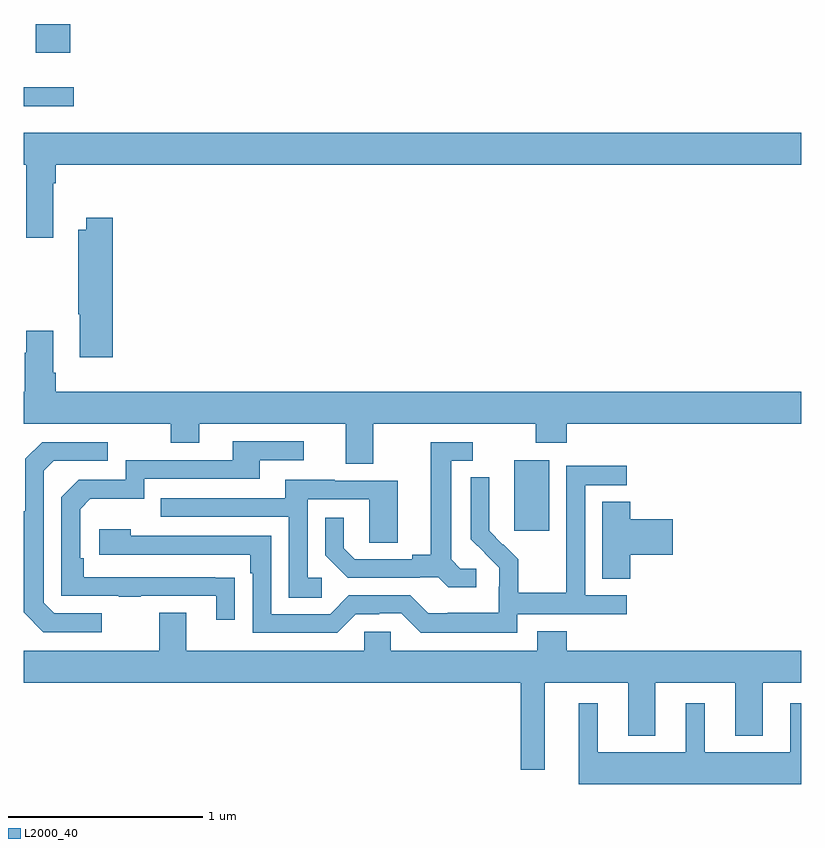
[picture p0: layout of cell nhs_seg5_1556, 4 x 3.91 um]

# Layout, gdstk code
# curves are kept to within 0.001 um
import gdstk
lib = gdstk.Library(unit=1e-6, precision=1e-09)
def R(c, l, rs):  # rectangles x0, y0, x1, y1
    for r in rs: c.add(gdstk.rectangle(r[:2], r[2:], *l))
def P(c, l, *ps):  # polygons
    for p in ps: c.add(gdstk.Polygon(p, *l))
L2000_40 = (2000, 40)

nhs_seg5_1556 = lib.new_cell('nhs_seg5_1556')
R(nhs_seg5_1556, L2000_40, [(207.524,872.193,207.703,872.554), (205,874.376,205.258,874.473), (205.061,874.652,205.24,874.799)])
P(nhs_seg5_1556, L2000_40, [(205.153,873.98),(205.166,873.98),(205.166,874.076),(209,874.076),(209,874.24),(205,874.24),(205,874.076),(205.013,874.076),(205.013,873.699),(205.153,873.699)],
  [(205.457,873.802),(205.322,873.802),(205.322,873.742),(205.282,873.742),(205.282,873.307),(205.289,873.307),(205.289,873.084),(205.457,873.084)],
  [(206.797,872.744),(207.634,872.744),(207.634,872.645),(207.794,872.645),(207.794,872.744),(209,872.744),(209,872.908),(205.166,872.908),(205.166,873.004),(205.153,873.004),(205.153,873.22),(205.013,873.22),(205.013,873.107),(205.006,873.107),(205.006,872.908),(205,872.908),(205,872.744),(205.756,872.744),(205.756,872.645),(205.903,872.645),(205.903,872.744),(206.657,872.744),(206.657,872.536),(206.797,872.536)],
  [(206.087,871.952),(205.31,871.953),(205.31,872.05),(205.29,872.05),(205.29,872.304),(205.343,872.357),(205.62,872.357),(205.62,872.46),(206.215,872.46),(206.215,872.556),(206.44,872.556),(206.44,872.652),(206.075,872.652),(206.075,872.556),(205.524,872.556),(205.524,872.454),(205.284,872.454),(205.194,872.364),(205.194,871.857),(205.489,871.857),(205.489,871.852),(205.601,871.852),(205.601,871.857),(205.991,871.857),(205.991,871.734),(206.087,871.734)],
  [(207.328,871.998),(207.246,871.998),(207.199,872.045),(207.199,872.553),(207.31,872.553),(207.31,872.649),(207.095,872.649),(207.095,872.069),(206.999,872.069),(206.999,872.046),(206.704,872.046),(206.647,872.103),(206.647,872.26),(206.55,872.26),(206.55,872.066),(206.666,871.95),(207.038,871.95),(207.038,871.953),(207.132,871.953),(207.184,871.901),(207.328,871.901)],
  [(205.402,871.767),(205.158,871.767),(205.104,871.821),(205.104,872.502),(205.155,872.553),(205.432,872.553),(205.432,872.649),(205.095,872.649),(205.008,872.562),(205.008,872.293),(205,872.293),(205,871.773),(205.101,871.671),(205.402,871.671)],
  [(207.54,871.764),(208.102,871.764),(208.102,871.86),(207.888,871.86),(207.888,872.427),(208.102,872.427),(208.102,872.526),(207.792,872.526),(207.792,872.096),(207.79,872.096),(207.79,871.873),(207.545,871.873),(207.545,872.047),(207.468,872.124),(207.465,872.121),(207.395,872.192),(207.396,872.468),(207.3,872.468),(207.3,872.15),(207.446,872.002),(207.446,871.905),(207.444,871.905),(207.444,871.771),(207.181,871.771),(207.181,871.767),(207.081,871.767),(206.988,871.86),(206.673,871.86),(206.577,871.764),(206.274,871.764),(206.274,872.166),(205.55,872.166),(205.55,872.2),(205.389,872.2),(205.389,872.07),(206.165,872.07),(206.165,871.973),(206.178,871.973),(206.178,871.668),(206.613,871.668),(206.709,871.764),(206.828,871.764),(206.828,871.767),(206.943,871.767),(207.043,871.667),(207.54,871.667)],
  [(206.533,871.95),(206.46,871.95),(206.46,872.355),(206.778,872.355),(206.778,872.131),(206.923,872.131),(206.923,872.451),(206.599,872.451),(206.599,872.455),(206.345,872.455),(206.345,872.361),(205.705,872.361),(205.705,872.265),(206.364,872.265),(206.364,871.849),(206.533,871.849)],
  [(208.121,872.069),(208.339,872.069),(208.339,872.252),(208.121,872.252),(208.121,872.342),(207.977,872.342),(207.977,871.945),(208.121,871.945)],
  [(207.679,871.412),(208.109,871.412),(208.109,871.139),(208.249,871.139),(208.249,871.412),(208.661,871.412),(208.661,871.139),(208.801,871.139),(208.801,871.412),(209,871.412),(209,871.576),(207.794,871.576),(207.794,871.675),(207.641,871.675),(207.641,871.576),(206.889,871.576),(206.889,871.674),(206.751,871.674),(206.751,871.576),(205.837,871.576),(205.837,871.771),(205.697,871.771),(205.697,871.576),(205,871.576),(205,871.412),(207.558,871.412),(207.558,870.963),(207.679,870.963)],
  [(209,871.306),(208.943,871.306),(208.943,871.054),(208.504,871.054),(208.504,871.306),(208.406,871.306),(208.406,871.054),(207.952,871.054),(207.952,871.306),(207.854,871.306),(207.854,870.89),(209,870.89)])

lib.write_gds('nhs_seg5_1556.gds')
